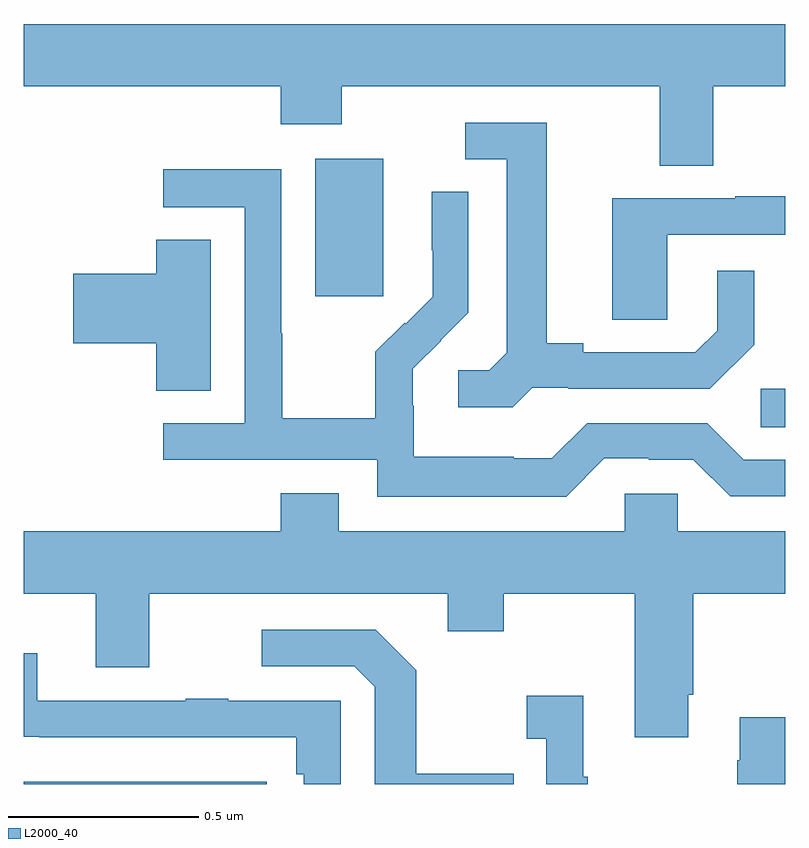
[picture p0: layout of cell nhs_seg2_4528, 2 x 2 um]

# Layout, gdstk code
import gdstk
lib = gdstk.Library(unit=1e-6, precision=1e-09)
def R(c, l, rs):  # rectangles x0, y0, x1, y1
    for r in rs: c.add(gdstk.rectangle(r[:2], r[2:], *l))
def P(c, l, *ps):  # polygons
    for p in ps: c.add(gdstk.Polygon(p, *l))
L2000_40 = (2000, 40)

nhs_seg2_4528 = lib.new_cell('nhs_seg2_4528')
R(nhs_seg2_4528, L2000_40, [(167,649.8,167.638,649.806), (168.936,650.737,169,650.838), (167.765,651.081,167.944,651.442)])
P(nhs_seg2_4528, L2000_40, [(168.811,651.632),(169,651.632),(169,651.796),(167,651.796),(167,651.632),(167.675,651.632),(167.675,651.533),(167.835,651.533),(167.835,651.632),(168.671,651.632),(168.671,651.424),(168.811,651.424)],
  [(168.336,650.841),(168.43,650.841),(168.43,650.838),(168.802,650.838),(168.918,650.954),(168.918,651.148),(168.821,651.148),(168.821,650.991),(168.764,650.934),(168.469,650.934),(168.469,650.957),(168.373,650.957),(168.373,651.537),(168.159,651.537),(168.159,651.441),(168.269,651.441),(168.269,650.933),(168.222,650.886),(168.141,650.886),(168.141,650.789),(168.284,650.789)],
  [(168.525,650.655),(168.641,650.655),(168.641,650.652),(168.759,650.652),(168.855,650.556),(169,650.556),(169,650.652),(168.891,650.652),(168.795,650.748),(168.48,650.748),(168.387,650.655),(168.287,650.655),(168.287,650.659),(168.024,650.659),(168.024,650.793),(168.022,650.793),(168.022,650.89),(168.096,650.964),(168.095,650.965),(168.168,651.038),(168.168,651.356),(168.072,651.356),(168.072,651.202),(168.074,651.202),(168.074,651.08),(168.003,651.009),(168,651.012),(167.923,650.935),(167.923,650.761),(167.679,650.761),(167.679,650.984),(167.676,650.984),(167.676,651.414),(167.367,651.414),(167.367,651.315),(167.58,651.315),(167.58,650.748),(167.367,650.748),(167.367,650.652),(167.928,650.652),(167.928,650.555),(168.425,650.555)],
  [(168.69,651.243),(169,651.243),(169,651.343),(168.869,651.343),(168.869,651.339),(168.545,651.339),(168.545,651.019),(168.69,651.019)],
  [(167.491,651.23),(167.348,651.23),(167.348,651.14),(167.13,651.14),(167.13,650.957),(167.348,650.957),(167.348,650.833),(167.491,650.833)],
  [(168.717,650.562),(168.579,650.562),(168.579,650.464),(167.827,650.464),(167.827,650.563),(167.675,650.563),(167.675,650.464),(167,650.464),(167,650.3),(167.189,650.3),(167.189,650.106),(167.329,650.106),(167.329,650.3),(168.113,650.3),(168.113,650.201),(168.261,650.201),(168.261,650.3),(168.605,650.3),(168.605,649.923),(168.745,649.923),(168.745,650.035),(168.758,650.035),(168.758,650.3),(169,650.3),(169,650.464),(168.717,650.464)],
  [(168.287,649.827),(168.031,649.827),(168.031,650.099),(167.925,650.205),(167.625,650.205),(167.625,650.109),(167.868,650.109),(167.922,650.055),(167.922,649.8),(168.287,649.8)],
  [(167.832,650.019),(167.537,650.019),(167.537,650.024),(167.425,650.024),(167.425,650.019),(167.035,650.019),(167.035,650.143),(167,650.143),(167,649.924),(167.041,649.924),(167.041,649.923),(167.716,649.923),(167.716,649.826),(167.736,649.826),(167.736,649.8),(167.832,649.8)],
  [(168.481,649.819),(168.469,649.819),(168.469,650.032),(168.321,650.032),(168.321,649.919),(168.372,649.919),(168.372,649.8),(168.481,649.8)],
  [(169,649.975),(168.881,649.975),(168.881,649.862),(168.874,649.862),(168.874,649.8),(169,649.8)])

lib.write_gds('nhs_seg2_4528.gds')
